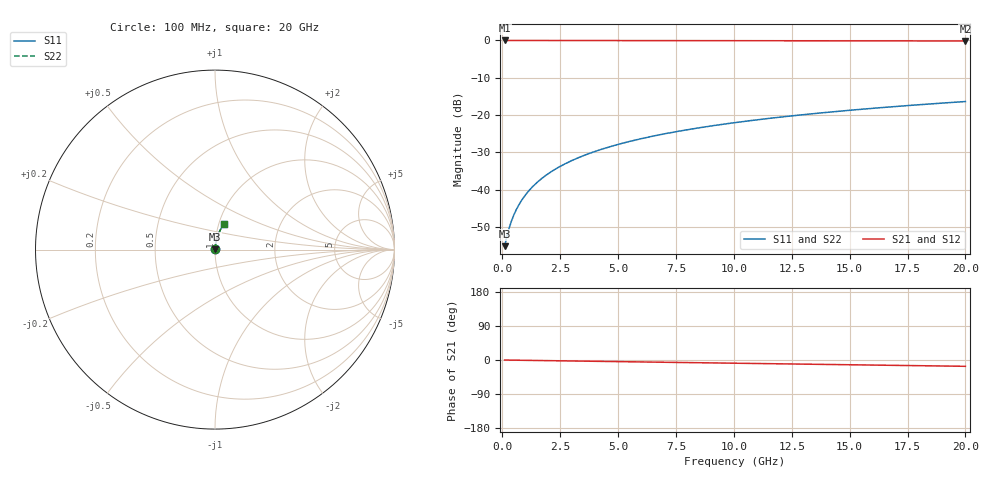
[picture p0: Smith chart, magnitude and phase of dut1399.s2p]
! Touchstone file exported from HFSS 2026.1.0
!  File:  C:/ffzhzh/LocalFiles/Ansys_Project_Files/temp_train_BSMRDL_1399_1783179865_43440.aedt
!  Generated:  11:45:36 PM Jul  4, 2026
!  Design:  BSMRDL
!  Project:  temp_train_BSMRDL_1399_1783179865_43440
! Variables:
!  h_bsmrdl = 3.87um
!  h_ox = 20um
!  h_rdl = 5um
!  h_sub = 80um
!  h_tmrdl = 5um
!  h_tsv = 80um
!  h_via = 3um
!  l_bsmrdl = 232.49um
!  l_sub = 632.49um
!  l_tmrdl = 200um
!  m_sub = 200um
!  pitch = 32.94um
!  r_tsv = 6um
!  s_tmrdl = 10um
!  w_bsmrdl = 16.01um
!  w_sub = 500um
!  w_tmrdl = 12um
!  x_tsv_center1 = 206um
!  x_tsv_center2 = 454.5um
!  x_tsv_center3 = 666.5um
!  x_tsv_center4 = 915um
!  x_tsv_center5 = 1127um
!  x_tsv_center6 = 1375.5um
# GHz S MA R 50.000000
! Terminal data exported
! Port[1] = BSM_RDL1_1_T1
! Port[2] = BSM_RDL1_1_T2
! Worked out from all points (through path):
!   200 points, 100 MHz to 20 GHz, reference 50 ohm
!   highest |S21| = -0.01 dB at 100 MHz (marker M1); lowest = -0.2 dB at 20 GHz (marker M2)
!   group delay of S21, straight-line fit = 2.31 ps
!   lowest |S11| = -55.2 dB at 100 MHz (marker M3), VSWR 1.00, Z = 50.1 + j0.0904 ohm
!   |S11| at or under -10 dB: start of sweep to end of sweep
!   |S22| runs from -55.2 to -16.4 dB; largest |S21 - S12| = 1.8e-15
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0.1  0.001746 31.1  0.9985 -0.1  0.9985 -0.1  0.001746 31.1
! Gamma 0 0 0 0
! Port Impedance 50 0 50 0
0.2  0.002359 48.8  0.9985 -0.2  0.9985 -0.2  0.002359 48.8
0.3  0.003079 58.2  0.9984 -0.3  0.9984 -0.3  0.003079 58.2
0.4  0.003828 63.9  0.9983 -0.4  0.9983 -0.4  0.003828 63.9
0.5  0.004588 67.7  0.9983 -0.4  0.9983 -0.4  0.004588 67.7
0.6  0.005356 70.5  0.9982 -0.5  0.9982 -0.5  0.005356 70.5
0.8  0.006911 74.3  0.9982 -0.7  0.9982 -0.7  0.006911 74.3
1  0.008486 76.6  0.9981 -0.9  0.9981 -0.9  0.008486 76.6
1.2  0.01007 78.3  0.9981 -1.0  0.9981 -1.0  0.01007 78.3
1.4  0.01167 79.4  0.998 -1.2  0.998 -1.2  0.01167 79.4
1.7  0.01407 80.5  0.9979 -1.5  0.9979 -1.5  0.01407 80.5
2.2  0.01809 81.6  0.9978 -1.9  0.9978 -1.9  0.01809 81.6
2.8  0.0229 82.1  0.9975 -2.4  0.9975 -2.4  0.0229 82.1
3.5  0.02849 82.2  0.9972 -3.0  0.9972 -3.0  0.02849 82.2
4.2  0.03405 82.0  0.9968 -3.6  0.9968 -3.6  0.03405 82.0
5  0.04036 81.7  0.9964 -4.3  0.9964 -4.3  0.04036 81.7
6.8  0.05437 80.6  0.9951 -5.8  0.9951 -5.8  0.05437 80.6
8.3  0.06587 79.6  0.994 -7.1  0.994 -7.1  0.06587 79.6
10.1  0.07948 78.3  0.9925 -8.6  0.9925 -8.6  0.07949 78.3
13.4  0.104 75.9  0.9894 -11.3  0.9894 -11.3  0.104 75.9
16.7  0.1281 73.4  0.986 -14.0  0.986 -14.0  0.1281 73.4
20  0.1516 71.0  0.9822 -16.7  0.9822 -16.7  0.1516 71.0
